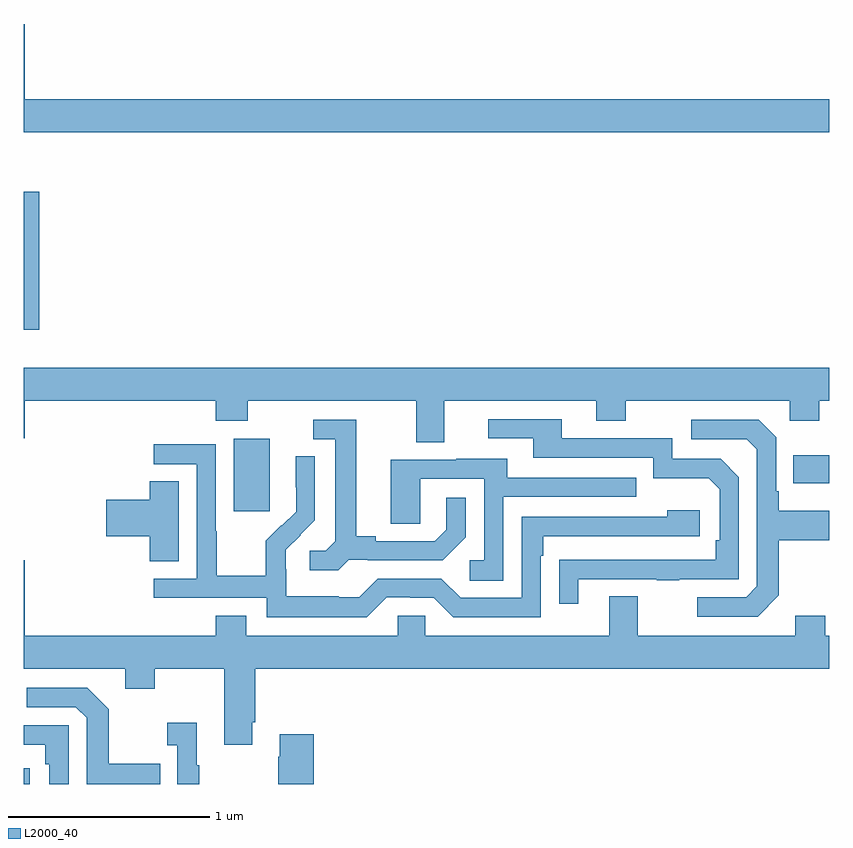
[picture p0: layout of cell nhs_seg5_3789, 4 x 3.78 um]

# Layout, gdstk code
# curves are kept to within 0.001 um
import gdstk
lib = gdstk.Library(unit=1e-6, precision=1e-09)
def R(c, l, rs):  # rectangles x0, y0, x1, y1
    for r in rs: c.add(gdstk.rectangle(r[:2], r[2:], *l))
def P(c, l, *ps):  # polygons
    for p in ps: c.add(gdstk.Polygon(p, *l))
L2000_40 = (2000, 40)

nhs_seg5_3789 = lib.new_cell('nhs_seg5_3789')
R(nhs_seg5_3789, L2000_40, [(333,910.799,333.028,910.878), (334.043,912.153,334.222,912.514), (336.823,912.293,337,912.433), (333,913.056,333.077,913.741)])
P(nhs_seg5_3789, L2000_40, [(337,914.2),(333.004,914.2),(333.004,914.575),(333,914.575),(333,914.036),(337,914.036)],
  [(335.089,912.704),(335.843,912.704),(335.843,912.605),(335.991,912.605),(335.991,912.704),(336.804,912.704),(336.804,912.605),(336.951,912.605),(336.951,912.704),(337,912.704),(337,912.868),(333,912.868),(333,912.516),(333.004,912.516),(333.004,912.704),(333.953,912.704),(333.953,912.605),(334.113,912.605),(334.113,912.704),(334.949,912.704),(334.949,912.496),(335.089,912.496)],
  [(335.755,911.817),(336.145,911.817),(336.145,911.812),(336.257,911.812),(336.257,911.817),(336.552,911.817),(336.552,912.324),(336.462,912.414),(336.222,912.414),(336.222,912.516),(335.671,912.516),(335.671,912.612),(335.307,912.612),(335.307,912.516),(335.531,912.516),(335.531,912.42),(336.126,912.42),(336.126,912.317),(336.403,912.317),(336.456,912.264),(336.456,912.01),(336.436,912.01),(336.436,911.913),(335.659,911.912),(335.659,911.694),(335.755,911.694)],
  [(336.751,911.737),(336.751,912.01),(337,912.01),(337,912.157),(336.751,912.157),(336.751,912.253),(336.738,912.253),(336.738,912.522),(336.651,912.609),(336.315,912.609),(336.315,912.513),(336.591,912.513),(336.642,912.462),(336.642,911.781),(336.588,911.727),(336.345,911.727),(336.345,911.631),(336.645,911.631)],
  [(334.614,911.913),(334.708,911.913),(334.708,911.91),(335.08,911.91),(335.196,912.026),(335.196,912.22),(335.099,912.22),(335.099,912.063),(335.042,912.006),(334.747,912.006),(334.747,912.029),(334.651,912.029),(334.651,912.609),(334.437,912.609),(334.437,912.513),(334.547,912.513),(334.547,912.005),(334.5,911.958),(334.419,911.958),(334.419,911.861),(334.562,911.861)],
  [(334.803,911.727),(334.919,911.727),(334.919,911.724),(335.037,911.724),(335.133,911.628),(335.568,911.628),(335.568,911.933),(335.581,911.933),(335.581,912.03),(336.358,912.03),(336.358,912.16),(336.197,912.16),(336.197,912.126),(335.472,912.126),(335.472,911.724),(335.169,911.724),(335.073,911.82),(334.758,911.82),(334.665,911.727),(334.565,911.727),(334.565,911.731),(334.302,911.731),(334.302,911.865),(334.3,911.865),(334.3,911.962),(334.446,912.11),(334.446,912.428),(334.35,912.428),(334.35,912.274),(334.352,912.274),(334.352,912.152),(334.281,912.081),(334.278,912.084),(334.201,912.007),(334.201,911.833),(333.957,911.833),(333.957,912.056),(333.954,912.056),(333.954,912.486),(333.645,912.486),(333.645,912.387),(333.858,912.387),(333.858,911.82),(333.645,911.82),(333.645,911.724),(334.206,911.724),(334.206,911.627),(334.703,911.627)],
  [(335.382,912.225),(336.041,912.225),(336.041,912.321),(335.401,912.321),(335.401,912.415),(335.147,912.415),(335.147,912.411),(334.823,912.411),(334.823,912.091),(334.968,912.091),(334.968,912.315),(335.286,912.315),(335.286,911.91),(335.214,911.91),(335.214,911.809),(335.382,911.809)],
  [(333.769,912.302),(333.626,912.302),(333.626,912.212),(333.408,912.212),(333.408,912.029),(333.626,912.029),(333.626,911.905),(333.769,911.905)],
  [(333.004,911.911),(333,911.911),(333,911.372),(333.503,911.372),(333.503,911.273),(333.651,911.273),(333.651,911.372),(333.995,911.372),(333.995,910.995),(334.135,910.995),(334.135,911.107),(334.148,911.107),(334.148,911.372),(337,911.372),(337,911.536),(336.981,911.536),(336.981,911.635),(336.833,911.635),(336.833,911.536),(336.049,911.536),(336.049,911.731),(335.909,911.731),(335.909,911.536),(334.995,911.536),(334.995,911.634),(334.857,911.634),(334.857,911.536),(334.105,911.536),(334.105,911.635),(333.953,911.635),(333.953,911.536),(333.004,911.536)],
  [(333.677,910.899),(333.421,910.899),(333.421,911.171),(333.315,911.277),(333.015,911.277),(333.015,911.181),(333.258,911.181),(333.312,911.127),(333.312,910.799),(333.677,910.799)],
  [(333.871,910.891),(333.859,910.891),(333.859,911.104),(333.711,911.104),(333.711,910.991),(333.762,910.991),(333.762,910.799),(333.871,910.799)],
  [(333.222,911.091),(333,911.091),(333,910.995),(333.106,910.995),(333.106,910.898),(333.126,910.898),(333.126,910.799),(333.222,910.799)],
  [(334.439,911.047),(334.271,911.047),(334.271,910.934),(334.264,910.934),(334.264,910.799),(334.439,910.799)])

lib.write_gds('nhs_seg5_3789.gds')
